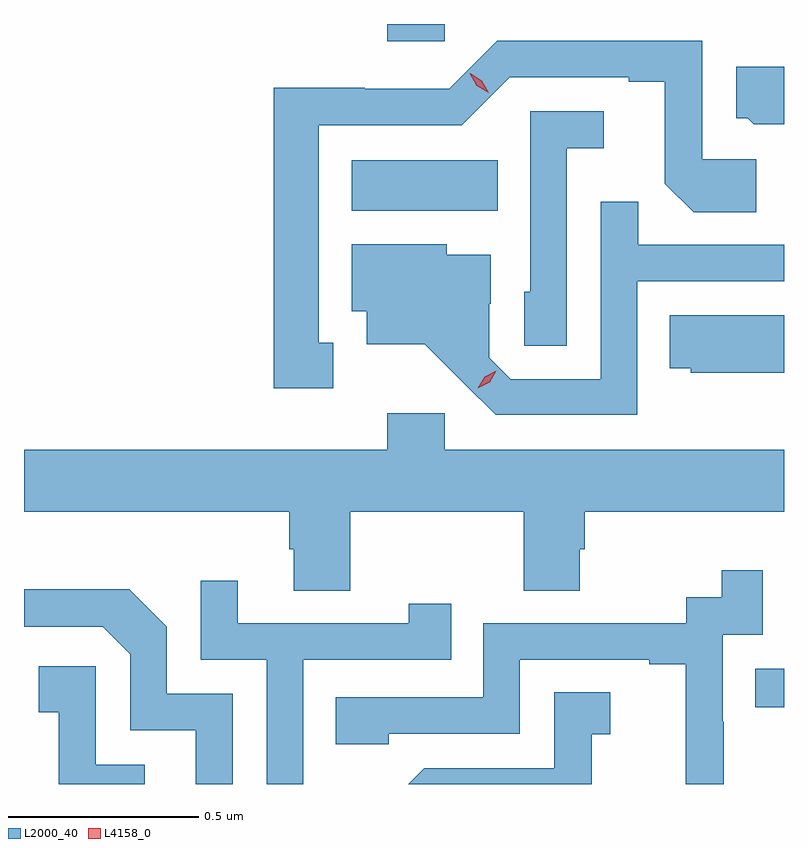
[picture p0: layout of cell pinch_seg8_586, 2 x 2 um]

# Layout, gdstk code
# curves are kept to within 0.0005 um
import gdstk
lib = gdstk.Library(unit=1e-6, precision=1e-09)
def R(c, l, rs):  # rectangles x0, y0, x1, y1
    for r in rs: c.add(gdstk.rectangle(r[:2], r[2:], *l))
def P(c, l, *ps):  # polygons
    for p in ps: c.add(gdstk.Polygon(p, *l))
L2000_40 = (2000, 40)
L4158_0 = (4158, 0)

pinch_seg8_586 = lib.new_cell('pinch_seg8_586')
R(pinch_seg8_586, L2000_40, [(139.099,1107.994,139.175,1108.095), (138.038,1109.3,138.422,1109.434), (138.131,1109.747,138.282,1109.792)])
P(pinch_seg8_586, L2000_40, [(137.989,1108.953),(137.95,1108.953),(137.95,1109.526),(138.327,1109.526),(138.453,1109.652),(138.767,1109.652),(138.767,1109.64),(138.861,1109.64),(138.861,1109.372),(138.937,1109.296),(139.102,1109.296),(139.102,1109.436),(138.96,1109.436),(138.96,1109.748),(138.42,1109.748),(138.294,1109.622),(138.072,1109.622),(138.072,1109.624),(137.832,1109.624),(137.832,1108.833),(137.989,1108.833)],
  [(139.175,1109.68),(139.049,1109.68),(139.049,1109.544),(139.08,1109.544),(139.096,1109.528),(139.175,1109.528)],
  [(138.603,1109.465),(138.7,1109.465),(138.7,1109.562),(138.507,1109.562),(138.507,1109.088),(138.492,1109.088),(138.492,1108.945),(138.603,1108.945)],
  [(138.789,1109.115),(139.175,1109.115),(139.175,1109.211),(138.791,1109.211),(138.791,1109.324),(138.693,1109.324),(138.693,1108.857),(138.456,1108.857),(138.399,1108.914),(138.399,1109.056),(138.403,1109.056),(138.403,1109.185),(138.288,1109.185),(138.288,1109.212),(138.038,1109.212),(138.038,1109.036),(138.077,1109.036),(138.077,1108.949),(138.229,1108.949),(138.416,1108.764),(138.789,1108.764)],
  [(139.175,1109.026),(138.874,1109.026),(138.874,1108.886),(138.93,1108.886),(138.93,1108.874),(139.175,1108.874)],
  [(138.033,1108.508),(138.49,1108.508),(138.49,1108.3),(138.637,1108.3),(138.637,1108.41),(138.65,1108.41),(138.65,1108.508),(139.175,1108.508),(139.175,1108.672),(138.282,1108.672),(138.282,1108.768),(138.131,1108.768),(138.131,1108.672),(137.175,1108.672),(137.175,1108.508),(137.873,1108.508),(137.873,1108.41),(137.885,1108.41),(137.885,1108.3),(138.033,1108.3)],
  [(139.016,1107.956),(139.014,1107.956),(139.014,1108.185),(139.119,1108.185),(139.119,1108.354),(139.011,1108.354),(139.011,1108.284),(138.918,1108.284),(138.918,1108.215),(138.384,1108.215),(138.384,1108.02),(137.995,1108.02),(137.995,1107.897),(138.135,1107.897),(138.135,1107.924),(138.48,1107.924),(138.48,1108.119),(138.821,1108.119),(138.821,1108.107),(138.917,1108.107),(138.917,1107.823),(138.916,1107.823),(138.916,1107.792),(139.016,1107.792)],
  [(137.91,1108.119),(138.299,1108.119),(138.299,1108.267),(138.188,1108.267),(138.188,1108.215),(137.737,1108.215),(137.737,1108.327),(137.64,1108.327),(137.64,1108.119),(137.814,1108.119),(137.814,1107.792),(137.91,1107.792)],
  [(137.724,1108.029),(137.55,1108.029),(137.55,1108.206),(137.452,1108.304),(137.175,1108.304),(137.175,1108.206),(137.382,1108.206),(137.454,1108.134),(137.454,1107.933),(137.627,1107.933),(137.627,1107.792),(137.724,1107.792)],
  [(137.493,1107.843),(137.364,1107.843),(137.364,1108.102),(137.214,1108.102),(137.214,1107.981),(137.267,1107.981),(137.267,1107.792),(137.493,1107.792)],
  [(138.669,1107.923),(138.718,1107.923),(138.718,1108.033),(138.57,1108.033),(138.57,1107.834),(138.228,1107.834),(138.186,1107.792),(138.669,1107.792)])
P(pinch_seg8_586, L4158_0, [(138.398,1109.611),(138.366,1109.629),(138.348,1109.662),(138.348,1109.662),(138.349,1109.662),(138.38,1109.643),(138.398,1109.611),(138.398,1109.611)],
  [(138.369,1108.834),(138.369,1108.834),(138.387,1108.864),(138.418,1108.879),(138.418,1108.879),(138.418,1108.879),(138.4,1108.849),(138.369,1108.834)])

lib.write_gds('pinch_seg8_586.gds')
